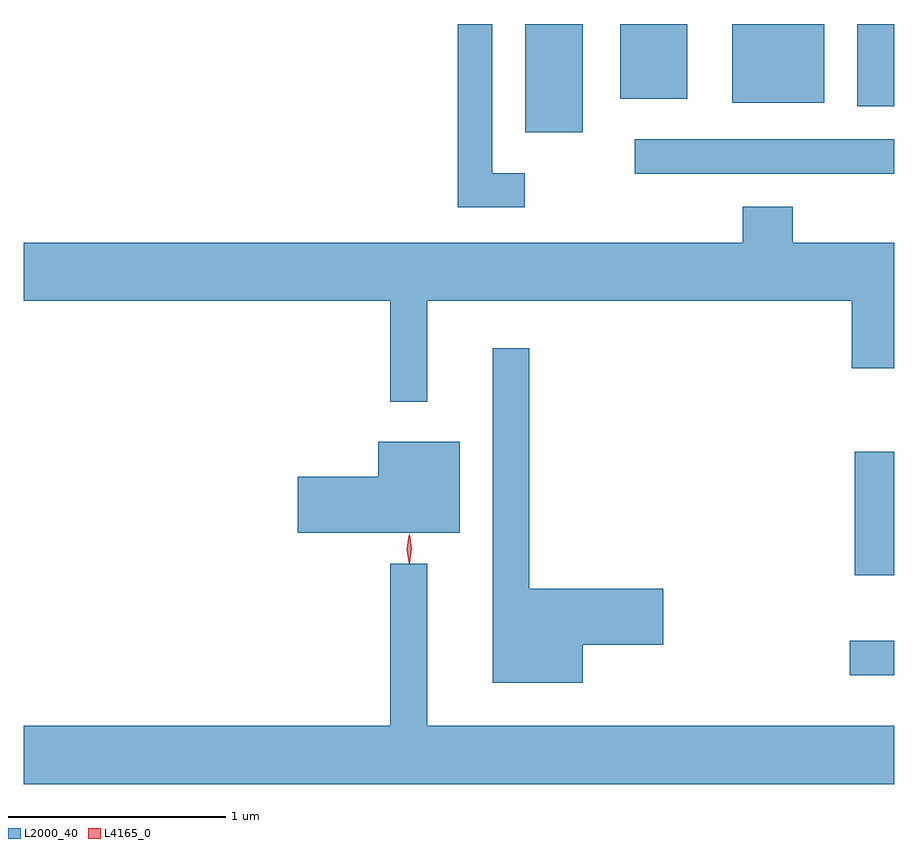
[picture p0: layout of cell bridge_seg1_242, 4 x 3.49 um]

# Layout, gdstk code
import gdstk
lib = gdstk.Library(unit=1e-6, precision=1e-09)
def R(c, l, rs):  # rectangles x0, y0, x1, y1
    for r in rs: c.add(gdstk.rectangle(r[:2], r[2:], *l))
def P(c, l, *ps):  # polygons
    for p in ps: c.add(gdstk.Polygon(p, *l))
L2000_40 = (2000, 40)
L4165_0 = (4165, 0)

bridge_seg1_242 = lib.new_cell('bridge_seg1_242')
R(bridge_seg1_242, L2000_40, [(830.923,862.336,831.126,862.494), (830.946,862.796,831.126,863.364), (829.933,864.641,831.126,864.799), (829.431,864.831,829.694,865.329), (830.956,864.951,831.126,865.329), (830.381,864.966,830.804,865.329), (829.866,864.986,830.174,865.329)])
P(bridge_seg1_242, L2000_40, [(829.428,864.644),(829.279,864.644),(829.279,865.329),(829.121,865.329),(829.121,864.486),(829.428,864.486)],
  [(828.979,864.056),(830.931,864.056),(830.931,863.746),(831.126,863.746),(831.126,864.324),(830.659,864.324),(830.659,864.489),(830.431,864.489),(830.431,864.324),(827.126,864.324),(827.126,864.056),(828.811,864.056),(828.811,863.593),(828.979,863.593)],
  [(829.694,862.476),(830.064,862.476),(830.064,862.734),(829.449,862.734),(829.449,863.838),(829.281,863.838),(829.281,862.301),(829.694,862.301)],
  [(829.129,863.409),(828.756,863.409),(828.756,863.249),(828.386,863.249),(828.386,862.991),(829.129,862.991)],
  [(831.126,862.104),(828.979,862.104),(828.979,862.848),(828.811,862.848),(828.811,862.104),(827.126,862.104),(827.126,861.836),(831.126,861.836)])
P(bridge_seg1_242, L4165_0, [(828.898,862.85),(828.898,862.85),(828.889,862.918),(828.899,862.985),(828.9,862.986),(828.9,862.985),(828.909,862.918),(828.899,862.85)],
  [(828.895,862.853),(828.894,862.854),(828.885,862.916),(828.894,862.979),(828.895,862.98),(828.895,862.979),(828.905,862.916),(828.895,862.854)])

lib.write_gds('bridge_seg1_242.gds')
